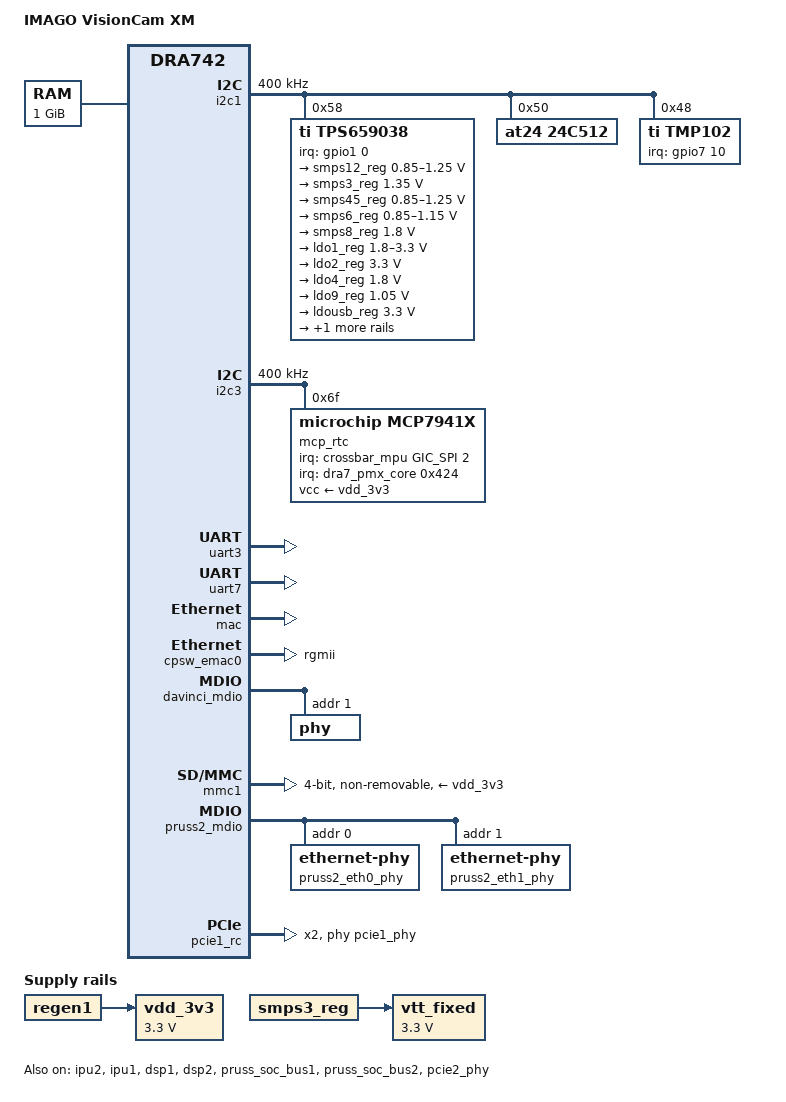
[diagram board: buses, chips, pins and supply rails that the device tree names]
/*
 * Copyright (C) 2015-2016 Texas Instruments Incorporated - http://www.ti.com/
 *
 * This program is free software; you can redistribute it and/or modify
 * it under the terms of the GNU General Public License version 2 as
 * published by the Free Software Foundation.
 */
/dts-v1/;

#include "dra74x.dtsi"
#include <dt-bindings/gpio/gpio.h>
#include <dt-bindings/interrupt-controller/irq.h>

/ {
	model = "IMAGO VisionCam XM";
	compatible = "ti,am5728", "ti,dra742", "ti,dra74", "ti,dra7";

	aliases {
		rtc0 = &mcp_rtc;
		rtc1 = &tps659038_rtc;
		rtc2 = &rtc;
//		ethernet1 = &pruss2_emac0;
//		ethernet2 = &pruss2_emac1;
	};

	memory {
		device_type = "memory";
		reg = <0x0 0x80000000 0x0 0x40000000>;
	};

	reserved-memory {
		#address-cells = <2>;
		#size-cells = <2>;
		ranges;

		ipu2_cma_pool: ipu2_cma@95800000 {
			compatible = "shared-dma-pool";
			reg = <0x0 0x95800000 0x0 0x3800000>;
			reusable;
			status = "okay";
		};

		dsp1_cma_pool: dsp1_cma@99000000 {
			compatible = "shared-dma-pool";
			reg = <0x0 0x99000000 0x0 0x4000000>;
			reusable;
			status = "okay";
		};

		ipu1_cma_pool: ipu1_cma@9d000000 {
			compatible = "shared-dma-pool";
			reg = <0x0 0x9d000000 0x0 0x2000000>;
			reusable;
			status = "okay";
		};

		dsp2_cma_pool: dsp2_cma@9f000000 {
			compatible = "shared-dma-pool";
			reg = <0x0 0x9f000000 0x0 0x800000>;
			reusable;
			status = "okay";
		};

		cmem_block_mem_0: cmem_block_mem@a0000000 {
			reg = <0x0 0xa0000000 0x0 0x0c000000>;
			no-map;
			status = "okay";
		};

		cmem_block_mem_1_ocmc3: cmem_block_mem@40500000 {
			reg = <0x0 0x40500000 0x0 0x100000>;
			no-map;
			status = "okay";
		};
	};

	cmem {
		compatible = "ti,cmem";
		#address-cells = <1>;
		#size-cells = <0>;
		#pool-size-cells = <2>;
		status = "okay";
		
		cmem_block_0: cmem_block@0 {
			reg = <0>;
			memory-region = <&cmem_block_mem_0>;
			cmem-buf-pools = <1 0x0 0x0c000000>;
		};
		
		cmem_block_1: cmem_block@1 {
			reg = <1>;
			memory-region = <&cmem_block_mem_1_ocmc3>;
		};
	};

	vdd_3v3: fixedregulator-vdd_3v3 {
		compatible = "regulator-fixed";
		regulator-name = "vdd_3v3";
		vin-supply = <&regen1>;
		regulator-min-microvolt = <3300000>;
		regulator-max-microvolt = <3300000>;
		regulator-boot-on;
		regulator-always-on;
	};

	vtt_fixed: fixedregulator-vtt {
		/* TPS51200 */
		compatible = "regulator-fixed";
		regulator-name = "vtt_fixed";
		vin-supply = <&smps3_reg>;
		regulator-min-microvolt = <3300000>;
		regulator-max-microvolt = <3300000>;
		regulator-always-on;
		regulator-boot-on;
	};

	/* Dual-MAC Ethernet application node on PRU-ICSS2 */
	pruss2_eth {
//		status = "okay";
		status = "disabled";
		compatible = "ti,am57-prueth";
		pruss = <&pruss2>;
		sram = <&ocmcram1>;
		interrupt-parent = <&pruss2_intc>;
		/*rx-queue-size = /bits/ 16 <254 134 134 254 48>;*/ /* RED */
		/*rx-queue-size = /bits/ 16 <194 194 194 194 48>;*/ /* EMAC */
		/* map is lowpcp-to->hipcp where val 3=q4, 2=q3, 1=q2, 0=q1 */
		/*pcp-rxq-map = /bits/ 8 <3 3 2 2 1 1 0 0>;*/

		pruss2_emac0: ethernet-mii0 {
			phy-handle = <&pruss2_eth0_phy>;
			phy-mode = "mii";
			interrupts = <20>, <22>,
				     <20>, <22>;
			interrupt-names = "rx", "tx",
					  "red-rx", "red-tx";
			/* Filled in by bootloader */
			local-mac-address = [A8 01 80 0A 00 00];
			/*tx-queue-size = /bits/ 16 <97 97 97 97 48>;*/
		};

		pruss2_emac1: ethernet-mii1 {
			phy-handle = <&pruss2_eth1_phy>;
			phy-mode = "mii";
			interrupts = <21>, <23>,
				     <20>, <22>;
			interrupt-names = "rx", "tx",
					  "red-rx", "red-tx";
			/* Filled in by bootloader */
			local-mac-address = [00 00 00 00 00 00];
			/*tx-queue-size = /bits/ 16 <97 97 97 97 48>;*/
		};
	};
};

&dra7_pmx_core {
	mmc1_pins_default: mmc1_pins_default {
		pinctrl-single,pins = <
			0x354 (PIN_INPUT | MUX_MODE0) /* mmc1_clk.clk */
			0x358 (PIN_INPUT | MUX_MODE0) /* mmc1_cmd.cmd */
			0x35c (PIN_INPUT | MUX_MODE0) /* mmc1_dat0.dat0 */
			0x360 (PIN_INPUT | MUX_MODE0) /* mmc1_dat1.dat1 */
			0x364 (PIN_INPUT | MUX_MODE0) /* mmc1_dat2.dat2 */
			0x368 (PIN_INPUT | MUX_MODE0) /* mmc1_dat3.dat3 */
		>;
	};

	mmc1_pins_sdr12: pinmux_mmc1_sdr12_pins {
		pinctrl-single,pins = <
			0x354 (PIN_INPUT | MUX_MODE0)	/* mmc1_clk.clk */
			0x358 (PIN_INPUT | MUX_MODE0)	/* mmc1_cmd.cmd */
			0x35c (PIN_INPUT | MUX_MODE0)	/* mmc1_dat0.dat0 */
			0x360 (PIN_INPUT | MUX_MODE0)	/* mmc1_dat1.dat1 */
			0x364 (PIN_INPUT | MUX_MODE0)	/* mmc1_dat2.dat2 */
			0x368 (PIN_INPUT | MUX_MODE0)	/* mmc1_dat3.dat3 */
		>;
	};

	mmc1_pins_hs: mmc1_pins_hs {
		pinctrl-single,pins = <
			0x354 (PIN_INPUT | MUX_VIRTUAL_MODE11 | MUX_MODE0) /* mmc1_clk.clk */
			0x358 (PIN_INPUT | MUX_VIRTUAL_MODE11 | MUX_MODE0) /* mmc1_cmd.cmd */
			0x35c (PIN_INPUT | MUX_VIRTUAL_MODE11 | MUX_MODE0) /* mmc1_dat0.dat0 */
			0x360 (PIN_INPUT | MUX_VIRTUAL_MODE11 | MUX_MODE0) /* mmc1_dat1.dat1 */
			0x364 (PIN_INPUT | MUX_VIRTUAL_MODE11 | MUX_MODE0) /* mmc1_dat2.dat2 */
			0x368 (PIN_INPUT | MUX_VIRTUAL_MODE11 | MUX_MODE0) /* mmc1_dat3.dat3 */
		>;
	};

	mmc1_pins_sdr25: pinmux_mmc1_sdr25_pins {
		pinctrl-single,pins = <
			0x354 (PIN_INPUT | MUX_VIRTUAL_MODE11 | MUX_MODE0)	/* mmc1_clk.clk */
			0x358 (PIN_INPUT | MUX_VIRTUAL_MODE11 | MUX_MODE0)	/* mmc1_cmd.cmd */
			0x35c (PIN_INPUT | MUX_VIRTUAL_MODE11 | MUX_MODE0)	/* mmc1_dat0.dat0 */
			0x360 (PIN_INPUT | MUX_VIRTUAL_MODE11 | MUX_MODE0)	/* mmc1_dat1.dat1 */
			0x364 (PIN_INPUT | MUX_VIRTUAL_MODE11 | MUX_MODE0)	/* mmc1_dat2.dat2 */
			0x368 (PIN_INPUT | MUX_VIRTUAL_MODE11 | MUX_MODE0)	/* mmc1_dat3.dat3 */
		>;
	};

	mmc1_pins_sdr50: pinmux_mmc1_sdr50_pins {
		pinctrl-single,pins = <
			0x354 (PIN_INPUT | MUX_VIRTUAL_MODE10 | MUX_MODE0)	/* mmc1_clk.clk */
			0x358 (PIN_INPUT | MUX_VIRTUAL_MODE10 | MUX_MODE0)	/* mmc1_cmd.cmd */
			0x35c (PIN_INPUT | MUX_VIRTUAL_MODE10 | MUX_MODE0)	/* mmc1_dat0.dat0 */
			0x360 (PIN_INPUT | MUX_VIRTUAL_MODE10 | MUX_MODE0)	/* mmc1_dat1.dat1 */
			0x364 (PIN_INPUT | MUX_VIRTUAL_MODE10 | MUX_MODE0)	/* mmc1_dat2.dat2 */
			0x368 (PIN_INPUT | MUX_VIRTUAL_MODE10 | MUX_MODE0)	/* mmc1_dat3.dat3 */
		>;
	};

	mmc1_pins_ddr50: pinmux_mmc1_ddr50_pins {
		pinctrl-single,pins = <
			0x354 (PIN_INPUT | MODE_SELECT | MUX_MODE0)	/* mmc1_clk.clk */
			0x358 (PIN_INPUT | MODE_SELECT | MUX_MODE0)	/* mmc1_cmd.cmd */
			0x35c (PIN_INPUT | MODE_SELECT | MUX_MODE0)	/* mmc1_dat0.dat0 */
			0x360 (PIN_INPUT | MODE_SELECT | MUX_MODE0)	/* mmc1_dat1.dat1 */
			0x364 (PIN_INPUT | MODE_SELECT | MUX_MODE0)	/* mmc1_dat2.dat2 */
			0x368 (PIN_INPUT | MODE_SELECT | MUX_MODE0)	/* mmc1_dat3.dat3 */
		>;
	};

	mmc1_pins_sdr104: pinmux_mmc1_sdr104_pins {
		pinctrl-single,pins = <
			0x354 (PIN_INPUT | MODE_SELECT | MUX_MODE0)	/* mmc1_clk.clk */
			0x358 (PIN_INPUT | MODE_SELECT | MUX_MODE0)	/* mmc1_cmd.cmd */
			0x35c (PIN_INPUT | MODE_SELECT | MUX_MODE0)	/* mmc1_dat0.dat0 */
			0x360 (PIN_INPUT | MODE_SELECT | MUX_MODE0)	/* mmc1_dat1.dat1 */
			0x364 (PIN_INPUT | MODE_SELECT | MUX_MODE0)	/* mmc1_dat2.dat2 */
			0x368 (PIN_INPUT | MODE_SELECT | MUX_MODE0)	/* mmc1_dat3.dat3 */
		>;
	};

//  	pruss2_mdio_default: pruss2_mdio_default {
//		pinctrl-single,pins = <
//			0x2A4 (PIN_OUTPUT | MUX_MODE11)	/* mcasp1_aclkx.pr2_mdio_mdclk */
//			0x2A8 (PIN_INPUT | MUX_MODE11)	/* mcasp1_fsx.pr2_mdio_data */
////			AM4372_IOPAD(0xa00, (PIN_INPUT_PULLUP | MUX_MODE7))	/* cam1_data6.gpio4_20 */
//		>;
//	};
	uart7_pins: uart7_pins {
		pinctrl-single,pins = <
			0x230 (PIN_INPUT_PULLUP | MUX_MODE14)	/* vout1_d21.gpio8_21 */
			0x21C (PIN_INPUT_PULLUP | MUX_MODE2)	/* vout1_d16.uart7_rxd */
			0x220 (PIN_OUTPUT | MUX_MODE2)	/* vout1_d17.uart7_txd */
		>;
	};
};

&dra7_iodelay_core {
	mmc1_iodelay_ddr50_rev11_conf: mmc1_iodelay_ddr50_rev11_conf {
		pinctrl-pin-array = <
			0x618 A_DELAY_PS(572) G_DELAY_PS(540)	/* CFG_MMC1_CLK_IN */
			0x624 A_DELAY_PS(0) G_DELAY_PS(600)	/* CFG_MMC1_CMD_IN */
			0x630 A_DELAY_PS(403) G_DELAY_PS(120)	/* CFG_MMC1_DAT0_IN */
			0x63c A_DELAY_PS(23) G_DELAY_PS(60)	/* CFG_MMC1_DAT1_IN */
			0x648 A_DELAY_PS(25) G_DELAY_PS(60)	/* CFG_MMC1_DAT2_IN */
			0x654 A_DELAY_PS(0) G_DELAY_PS(0)	/* CFG_MMC1_DAT3_IN */
			0x620 A_DELAY_PS(1525) G_DELAY_PS(0)	/* CFG_MMC1_CLK_OUT */
			0x628 A_DELAY_PS(0) G_DELAY_PS(0)	/* CFG_MMC1_CMD_OEN */
			0x62c A_DELAY_PS(55) G_DELAY_PS(0)	/* CFG_MMC1_CMD_OUT */
			0x634 A_DELAY_PS(0) G_DELAY_PS(0)	/* CFG_MMC1_DAT0_OEN */
			0x638 A_DELAY_PS(0) G_DELAY_PS(0)	/* CFG_MMC1_DAT0_OUT */
			0x640 A_DELAY_PS(0) G_DELAY_PS(0)	/* CFG_MMC1_DAT1_OEN */
			0x644 A_DELAY_PS(0) G_DELAY_PS(0)	/* CFG_MMC1_DAT1_OUT */
			0x64c A_DELAY_PS(0) G_DELAY_PS(0)	/* CFG_MMC1_DAT2_OEN */
			0x650 A_DELAY_PS(0) G_DELAY_PS(0)	/* CFG_MMC1_DAT2_OUT */
			0x658 A_DELAY_PS(0) G_DELAY_PS(0)	/* CFG_MMC1_DAT3_OEN */
			0x65c A_DELAY_PS(0) G_DELAY_PS(0)	/* CFG_MMC1_DAT3_OUT */
		>;
	};

	mmc1_iodelay_ddr50_rev20_conf: mmc1_iodelay_ddr50_rev20_conf {
		pinctrl-pin-array = <
			0x618 A_DELAY_PS(0) G_DELAY_PS(0)	/* CFG_MMC1_CLK_IN */
			0x620 A_DELAY_PS(1271) G_DELAY_PS(0)	/* CFG_MMC1_CLK_OUT */
			0x624 A_DELAY_PS(229) G_DELAY_PS(0)	/* CFG_MMC1_CMD_IN */
			0x628 A_DELAY_PS(0) G_DELAY_PS(0)	/* CFG_MMC1_CMD_OEN */
			0x62C A_DELAY_PS(0) G_DELAY_PS(0)	/* CFG_MMC1_CMD_OUT */
			0x630 A_DELAY_PS(850) G_DELAY_PS(0)	/* CFG_MMC1_DAT0_IN */
			0x634 A_DELAY_PS(0) G_DELAY_PS(0)	/* CFG_MMC1_DAT0_OEN */
			0x638 A_DELAY_PS(20) G_DELAY_PS(0)	/* CFG_MMC1_DAT0_OUT */
			0x63C A_DELAY_PS(468) G_DELAY_PS(0)	/* CFG_MMC1_DAT1_IN */
			0x640 A_DELAY_PS(0) G_DELAY_PS(0)	/* CFG_MMC1_DAT1_OEN */
			0x644 A_DELAY_PS(0) G_DELAY_PS(0)	/* CFG_MMC1_DAT1_OUT */
			0x648 A_DELAY_PS(466) G_DELAY_PS(0)	/* CFG_MMC1_DAT2_IN */
			0x64C A_DELAY_PS(0) G_DELAY_PS(0)	/* CFG_MMC1_DAT2_OEN */
			0x650 A_DELAY_PS(0) G_DELAY_PS(0)	/* CFG_MMC1_DAT2_OUT */
			0x654 A_DELAY_PS(399) G_DELAY_PS(0)	/* CFG_MMC1_DAT3_IN */
			0x658 A_DELAY_PS(0) G_DELAY_PS(0)	/* CFG_MMC1_DAT3_OEN */
			0x65C A_DELAY_PS(0) G_DELAY_PS(0)	/* CFG_MMC1_DAT3_OUT */
		>;
	};

	mmc1_iodelay_sdr104_rev11_conf: mmc1_iodelay_sdr104_rev11_conf {
		pinctrl-pin-array = <
			0x620 A_DELAY_PS(1063) G_DELAY_PS(17)	/* CFG_MMC1_CLK_OUT */
			0x628 A_DELAY_PS(0) G_DELAY_PS(0)	/* CFG_MMC1_CMD_OEN */
			0x62c A_DELAY_PS(23) G_DELAY_PS(0)	/* CFG_MMC1_CMD_OUT */
			0x634 A_DELAY_PS(0) G_DELAY_PS(0)	/* CFG_MMC1_DAT0_OEN */
			0x638 A_DELAY_PS(0) G_DELAY_PS(0)	/* CFG_MMC1_DAT0_OUT */
			0x640 A_DELAY_PS(0) G_DELAY_PS(0)	/* CFG_MMC1_DAT1_OEN */
			0x644 A_DELAY_PS(2) G_DELAY_PS(0)	/* CFG_MMC1_DAT1_OUT */
			0x64c A_DELAY_PS(0) G_DELAY_PS(0)	/* CFG_MMC1_DAT2_OEN */
			0x650 A_DELAY_PS(0) G_DELAY_PS(0)	/* CFG_MMC1_DAT2_OUT */
			0x658 A_DELAY_PS(0) G_DELAY_PS(0)	/* CFG_MMC1_DAT3_OEN */
			0x65c A_DELAY_PS(0) G_DELAY_PS(0)	/* CFG_MMC1_DAT3_OUT */
		>;
	};

	mmc1_iodelay_sdr104_rev20_conf: mmc1_iodelay_sdr104_rev20_conf {
		pinctrl-pin-array = <
			0x620 A_DELAY_PS(600) G_DELAY_PS(400)	/* CFG_MMC1_CLK_OUT */
			0x628 A_DELAY_PS(0) G_DELAY_PS(0)	/* CFG_MMC1_CMD_OEN */
			0x62c A_DELAY_PS(0) G_DELAY_PS(0)	/* CFG_MMC1_CMD_OUT */
			0x634 A_DELAY_PS(0) G_DELAY_PS(0)	/* CFG_MMC1_DAT0_OEN */
			0x638 A_DELAY_PS(30) G_DELAY_PS(0)	/* CFG_MMC1_DAT0_OUT */
			0x640 A_DELAY_PS(0) G_DELAY_PS(0)	/* CFG_MMC1_DAT1_OEN */
			0x644 A_DELAY_PS(0) G_DELAY_PS(0)	/* CFG_MMC1_DAT1_OUT */
			0x64c A_DELAY_PS(0) G_DELAY_PS(0)	/* CFG_MMC1_DAT2_OEN */
			0x650 A_DELAY_PS(0) G_DELAY_PS(0)	/* CFG_MMC1_DAT2_OUT */
			0x658 A_DELAY_PS(0) G_DELAY_PS(0)	/* CFG_MMC1_DAT3_OEN */
			0x65c A_DELAY_PS(0) G_DELAY_PS(0)	/* CFG_MMC1_DAT3_OUT */
		>;
	};
};

&i2c1 {
	status = "okay";
	clock-frequency = <400000>;

	tps659038: tps659038@58 {
		compatible = "ti,tps659038";
		reg = <0x58>;
		interrupt-parent = <&gpio1>;
		interrupts = <0 IRQ_TYPE_LEVEL_LOW>;

		#interrupt-cells = <2>;
		interrupt-controller;

		ti,system-power-controller;

		tps659038_pmic {
			compatible = "ti,tps659038-pmic";

			regulators {
				smps12_reg: smps12 {
					/* VDD_MPU */
					regulator-name = "smps12";
					regulator-min-microvolt = < 850000>;
					regulator-max-microvolt = <1250000>;
					regulator-always-on;
					regulator-boot-on;
				};

				smps3_reg: smps3 {
					/* VDD_DDR */
					regulator-name = "smps3";
					regulator-min-microvolt = <1350000>;
					regulator-max-microvolt = <1350000>;
					regulator-always-on;
					regulator-boot-on;
				};

				smps45_reg: smps45 {
					/* VDD_DSPEVE, VDD_IVA, VDD_GPU */
					regulator-name = "smps45";
					regulator-min-microvolt = < 850000>;
					regulator-max-microvolt = <1250000>;
					regulator-always-on;
					regulator-boot-on;
				};

				smps6_reg: smps6 {
					/* VDD_CORE */
					regulator-name = "smps6";
					regulator-min-microvolt = <850000>;
					regulator-max-microvolt = <1150000>;
					regulator-always-on;
					regulator-boot-on;
				};

				/* VDD_2V5 */
/*				smps7_reg: smps7 {
					regulator-name = "smps7";
					regulator-min-microvolt = <2500000>;
					regulator-max-microvolt = <2500000>;
					regulator-always-on;
					regulator-boot-on;
					ti,smps-range = <1>;
				}; */

				smps8_reg: smps8 {
					/* VDD_1V8 */
					regulator-name = "smps8";
					regulator-min-microvolt = <1800000>;
					regulator-max-microvolt = <1800000>;
					regulator-always-on;
					regulator-boot-on;
				};

				/* VDD_1V2 */
/*				smps9_reg: smps9 {
					regulator-name = "smps9";
					regulator-min-microvolt = <1200000>;
					regulator-max-microvolt = <1200000>;
					regulator-always-on;
					regulator-boot-on;
				};*/

				ldo1_reg: ldo1 {
					/* VDD_SD / VDDSHV8  */
					regulator-name = "ldo1";
					regulator-min-microvolt = <1800000>;
					regulator-max-microvolt = <3300000>;
					regulator-boot-on;
					regulator-always-on;
				};

				ldo2_reg: ldo2 {
					/* VDD_SHV5 */
					regulator-name = "ldo2";
					regulator-min-microvolt = <3300000>;
					regulator-max-microvolt = <3300000>;
					regulator-always-on;
					regulator-boot-on;
				};

				/* VDDA_1V8_PHYA */
/*				ldo3_reg: ldo3 {
					regulator-name = "ldo3";
					regulator-min-microvolt = <1800000>;
					regulator-max-microvolt = <1800000>;
					regulator-always-on;
					regulator-boot-on;
				};*/

				ldo4_reg: ldo4 {
					/* VDDA_1V8_PHYB */
					regulator-name = "ldo4";
					regulator-min-microvolt = <1800000>;
					regulator-max-microvolt = <1800000>;
					regulator-always-on;
					regulator-boot-on;
				};

				ldo9_reg: ldo9 {
					/* VDD_RTC */
					regulator-name = "ldo9";
					regulator-min-microvolt = <1050000>;
					regulator-max-microvolt = <1050000>;
					regulator-always-on;
					regulator-boot-on;
				};

				/* VDDA_1V8_PLL */
/*				ldoln_reg: ldoln {
					regulator-name = "ldoln";
					regulator-min-microvolt = <1800000>;
					regulator-max-microvolt = <1800000>;
					regulator-always-on;
					regulator-boot-on;
				};*/

				ldousb_reg: ldousb {
					/* VDDA_3V_USB: VDDA_USBHS33 */
					regulator-name = "ldousb";
					regulator-min-microvolt = <3300000>;
					regulator-max-microvolt = <3300000>;
					regulator-boot-on;
				};

				regen1: regen1 {
					/* VDD_3V3_ON */
					regulator-name = "regen1";
					regulator-boot-on;
					regulator-always-on;
				};
			};
		};

		tps659038_rtc: tps659038_rtc {
			compatible = "ti,palmas-rtc";
			interrupt-parent = <&tps659038>;
			interrupts = <8 IRQ_TYPE_EDGE_FALLING>;
			wakeup-source;
		};

/*		tps659038_pwr_button: tps659038_pwr_button {
			compatible = "ti,palmas-pwrbutton";
			interrupt-parent = <&tps659038>;
			interrupts = <1 IRQ_TYPE_EDGE_FALLING>;
			wakeup-source;
			ti,palmas-long-press-seconds = <12>;
		};*/

		tps659038_gpio: tps659038_gpio {
			compatible = "ti,palmas-gpio";
			gpio-controller;
			#gpio-cells = <2>;
		};

/*		extcon_usb2: tps659038_usb {
			compatible = "ti,palmas-usb-vid";
			ti,enable-vbus-detection;
			vbus-gpio = <&gpio4 21 GPIO_ACTIVE_HIGH>;
		};*/

	};

	at24@50 {
		compatible = "at24,24c512";
//		pagesize = <16>;
		reg = <0x50>;
	};

	tmp102: tmp102@48 {
		compatible = "ti,tmp102";
		reg = <0x48>;
		interrupt-parent = <&gpio7>;
//		interrupts = <16 IRQ_TYPE_LEVEL_LOW>;
		interrupts = <10 IRQ_TYPE_LEVEL_LOW>;
		#thermal-sensor-cells = <1>;
	};
};

&i2c3 {
	status = "okay";
	clock-frequency = <400000>;

	mcp_rtc: rtc@6f {
		compatible = "microchip,mcp7941x";
		reg = <0x6f>;
		interrupts-extended = <&crossbar_mpu GIC_SPI 2 IRQ_TYPE_EDGE_RISING>,
				      <&dra7_pmx_core 0x424>;
		interrupt-names = "irq", "wakeup";

		vcc-supply = <&vdd_3v3>;
		wakeup-source;
	};
};

&gpio4 {
	ti,no-reset-on-init;
	ti,no-idle-on-init;
};

&gpio7 {
	ti,no-reset-on-init;
	ti,no-idle-on-init;
};

&uart3 {
	status = "okay";
	interrupts-extended = <&crossbar_mpu GIC_SPI 69 IRQ_TYPE_LEVEL_HIGH>,
			      <&dra7_pmx_core 0x3f8>;
};

&uart7 {
	status = "okay";
	pinctrl-names = "default";
	pinctrl-0 = <&uart7_pins>;
	interrupts-extended = <&crossbar_mpu GIC_SPI 218 IRQ_TYPE_LEVEL_HIGH>,
			      <&dra7_pmx_core 0x21C>;
};

&mac {
	status = "okay";
	slaves = <1>;
};

&cpsw_emac0 {
	phy_id = <&davinci_mdio>, <1>;
	phy-mode = "rgmii";
};

&davinci_mdio {
	phy: phy@1 {
		reg = <1>;
		max-speed = <1000>;
	} ;
};

&mmc1 {
/*	status = "okay";
	pinctrl-names = "default", "hs";
	pinctrl-0 = <&mmc1_pins_default>;
	pinctrl-1 = <&mmc1_pins_hs>;
	vmmc-supply = <&ldo1_reg>;
	max-frequency = <96000000>;
	/delete-property/ sd-uhs-sdr104;
	/delete-property/ sd-uhs-sdr50;
	/delete-property/ sd-uhs-ddr50;
	/delete-property/ sd-uhs-sdr25;
	/delete-property/ sd-uhs-sdr12;
	bus-width = <4>;
//	cd-gpios = <&gpio6 27 GPIO_ACTIVE_LOW>;
	cap-sd-highspeed;
	non-removable;*/

	status = "okay";
	pinctrl-names = "default", "hs", "sdr12", "sdr25", "sdr50", "ddr50-rev11", "sdr104-rev11", "ddr50", "sdr104";
	pinctrl-0 = <&mmc1_pins_default>;
	pinctrl-1 = <&mmc1_pins_hs>;
	pinctrl-2 = <&mmc1_pins_sdr12>;
	pinctrl-3 = <&mmc1_pins_sdr25>;
	pinctrl-4 = <&mmc1_pins_sdr50>;
	pinctrl-5 = <&mmc1_pins_ddr50 &mmc1_iodelay_ddr50_rev11_conf>;
	pinctrl-6 = <&mmc1_pins_sdr104 &mmc1_iodelay_sdr104_rev11_conf>;
	pinctrl-7 = <&mmc1_pins_ddr50 &mmc1_iodelay_ddr50_rev20_conf>;
	pinctrl-8 = <&mmc1_pins_sdr104 &mmc1_iodelay_sdr104_rev20_conf>;
//	vmmc-supply = <&ldo1_reg>;
	vmmc-supply = <&vdd_3v3>;
	vmmc_aux-supply = <&ldo1_reg>;
	bus-width = <4>;
//	cd-gpios = <&gpio6 27 0>; /* gpio 219 */
	non-removable;
	max-frequency = <192000000>;
};

/*&oppdm_mpu {
	vdd-supply = <&smps12_reg>;
};*/
&cpu0 {
	vdd-supply = <&smps12_reg>;
	voltage-tolerance = <1>;
};

/*&oppdm_dspeve {
	vdd-supply = <&smps45_reg>;
};

&oppdm_gpu {
	vdd-supply = <&smps45_reg>;
};

&oppdm_ivahd {
	vdd-supply = <&smps45_reg>;
};

&oppdm_core {
	vdd-supply = <&smps6_reg>;
};
*/
&mailbox3 {
	status = "okay";
	mbox_pru1_0: mbox_pru1_0 {
		status = "okay";
	};
	mbox_pru1_1: mbox_pru1_1 {
		status = "okay";
	};
};

&mailbox4 {
	status = "okay";
	mbox_pru2_0: mbox_pru2_0 {
		status = "okay";
	};
	mbox_pru2_1: mbox_pru2_1 {
		status = "okay";
	};
};

&mailbox5 {
	status = "okay";
	mbox_ipu1_ipc3x: mbox_ipu1_ipc3x {
		status = "okay";
	};
	mbox_dsp1_ipc3x: mbox_dsp1_ipc3x {
		status = "okay";
	};
};

&mailbox6 {
	status = "okay";
	mbox_ipu2_ipc3x: mbox_ipu2_ipc3x {
		status = "okay";
	};
	mbox_dsp2_ipc3x: mbox_dsp2_ipc3x {
		status = "okay";
	};
};

&mmu0_dsp1 {
	status = "okay";
};

&mmu1_dsp1 {
	status = "okay";
};

&mmu0_dsp2 {
	status = "okay";
};

&mmu1_dsp2 {
	status = "okay";
};

&mmu_ipu1 {
	status = "okay";
};

&mmu_ipu2 {
	status = "okay";
};

&ipu2 {
	status = "okay";
	memory-region = <&ipu2_cma_pool>;
	mboxes = <&mailbox6 &mbox_ipu2_ipc3x>;
	timers = <&timer3>;
	watchdog-timers = <&timer4>, <&timer9>;
};

&ipu1 {
	status = "okay";
	memory-region = <&ipu1_cma_pool>;
	mboxes = <&mailbox5 &mbox_ipu1_ipc3x>;
	timers = <&timer11>;
};

&dsp1 {
	status = "okay";
	memory-region = <&dsp1_cma_pool>;
	mboxes = <&mailbox5 &mbox_dsp1_ipc3x>;
	timers = <&timer5>;
};

&dsp2 {
	status = "okay";
	memory-region = <&dsp2_cma_pool>;
	mboxes = <&mailbox6 &mbox_dsp2_ipc3x>;
	timers = <&timer6>;
};

/*&pruss1 {
	status = "okay";
	pru1_0: pru0@4b234000 {
		mboxes = <&mailbox3 &mbox_pru1_0>;
		status = "okay";
	};

	pru1_1: pru1@4b238000 {
		mboxes = <&mailbox3 &mbox_pru1_1>;
		status = "okay";
	};
};

&pruss2 {
	status = "okay";
	pru2_0: pru0@4b2b4000 {
		mboxes = <&mailbox4 &mbox_pru2_0>;
		status = "okay";
	};

	pru2_1: pru1@4b2b8000 {
		mboxes = <&mailbox4 &mbox_pru2_1>;
		status = "okay";
	};
};*/

&pruss_soc_bus1 {
	status = "okay";

	pruss1: pruss@4b200000 {
		status = "okay";

		pru1_0: pru@4b234000 {
			interrupt-parent = <&pruss1_intc>;
			interrupts = <16>, <17>;
			interrupt-names = "vring", "kick";
			status = "okay";
		};

		pru1_1: pru@4b238000 {
			interrupt-parent = <&pruss1_intc>;
			interrupts = <18>, <19>;
			interrupt-names = "vring", "kick";
			status = "okay";
		};
	};
};

&pruss_soc_bus2 {
	status = "okay";

	pruss2: pruss@4b280000 {
		status = "okay";

		pru2_0: pru@4b2b4000 {
			interrupt-parent = <&pruss2_intc>;
			interrupts = <16>, <17>;
			interrupt-names = "vring", "kick";
			status = "okay";
		};

		pru2_1: pru@4b2b8000 {
			interrupt-parent = <&pruss2_intc>;
			interrupts = <18>, <19>;
			interrupt-names = "vring", "kick";
			status = "okay";
		};
	};
};

&pruss2_mdio {
//	status = "okay";
//	pinctrl-0 = <&pruss2_mdio_default>;
//	pinctrl-names = "default";
	pruss2_eth0_phy: ethernet-phy@0 {
		reg = <0>;
//		interrupt-parent = <&gpio3>;
//		interrupts = <30 IRQ_TYPE_EDGE_FALLING>;
	};

	pruss2_eth1_phy: ethernet-phy@1 {
		reg = <1>;
//		interrupt-parent = <&gpio3>;
//		interrupts = <31 IRQ_TYPE_EDGE_FALLING>;
	};
};


/*&pcie1 {
	num-lanes = <2>;
	phys = <&pcie1_phy &pcie2_phy>;
	phy-names = "pcie-phy0", "pcie-phy1";
	gpio = <&gpio4 24 GPIO_ACTIVE_HIGH>;
};*/
&pcie1_rc {
	status = "ok";
	num-lanes = <2>;
	phys = <&pcie1_phy &pcie2_phy>;
	phy-names = "pcie-phy0", "pcie-phy1";
	gpio = <&gpio4 24 GPIO_ACTIVE_HIGH>;
//	gpios = <&gpio2 8 GPIO_ACTIVE_LOW>;
};

&pcie2_phy {
	status = "okay";
};

&cpu_alert0 {
	temperature = <95000>; /* milliCelsius */
};

&cpu_crit {
	temperature = <105000>; /* milliCelsius */
};

&gpu_crit {
	temperature = <105000>; /* milliCelsius */
};

&core_crit {
	temperature = <105000>; /* milliCelsius */
};

&dspeve_crit {
	temperature = <105000>; /* milliCelsius */
};

&iva_crit {
	temperature = <105000>; /* milliCelsius */
};

&thermal_zones {
	board_thermal: board_thermal {
		polling-delay-passive = <1250>; /* milliseconds */
		polling-delay = <1500>; /* milliseconds */

				/* sensor       ID */
		thermal-sensors = <&tmp102     0>;

		board_trips: trips {
			board_crit: board_crit {
				temperature = <80000>; /* millicelsius */
				hysteresis = <0>; /* millicelsius */
				type = "critical";
			};
		};
       };
};
